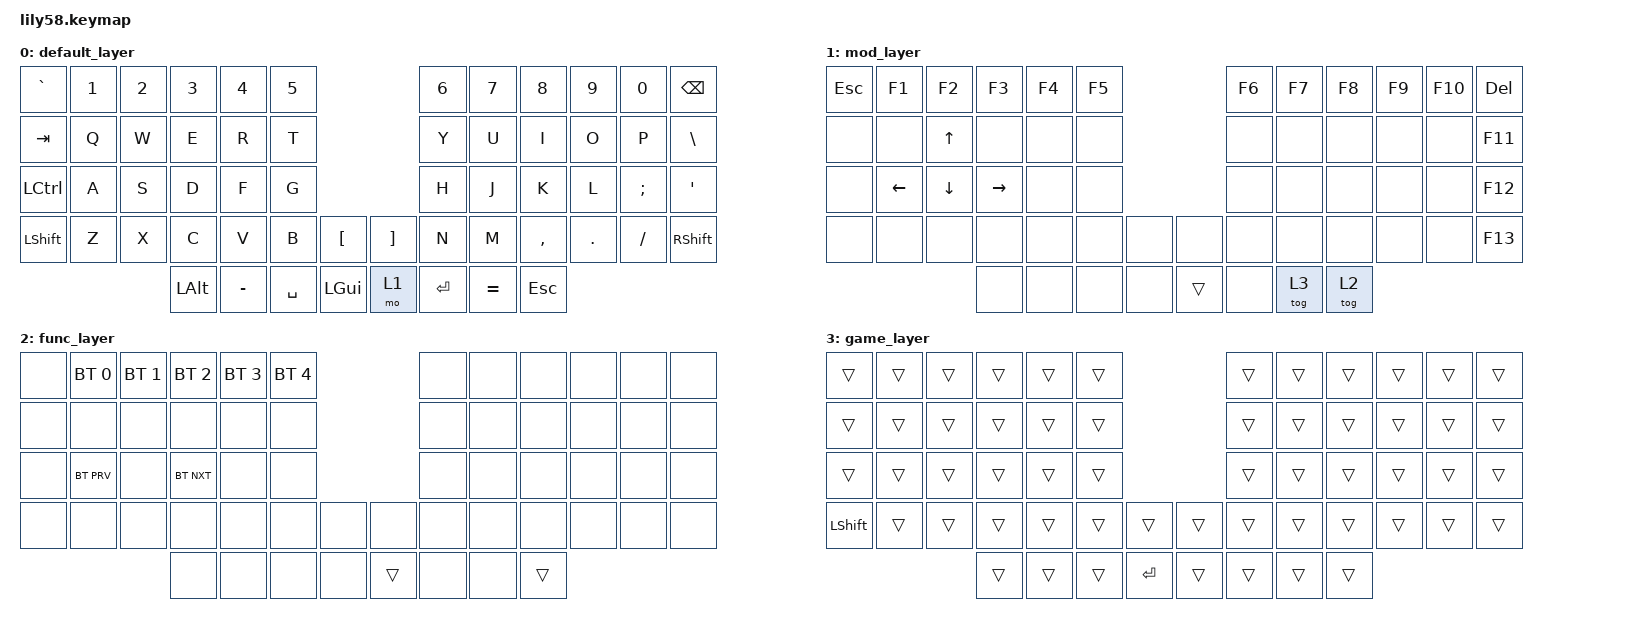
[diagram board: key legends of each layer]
#include <behaviors.dtsi>
#include <dt-bindings/zmk/keys.h>
#include <dt-bindings/zmk/bt.h>
#include <dt-bindings/zmk/outputs.h>

/ {
  keymap {
    compatible = "zmk,keymap";

    default_layer {
      bindings = <
        &kp GRAVE &kp N1 &kp N2 &kp N3   &kp N4    &kp N5                         &kp N6  &kp N7    &kp N8    &kp N9  &kp N0    &kp BACKSPACE
        &kp TAB   &kp Q  &kp W  &kp E    &kp R     &kp T                          &kp Y   &kp U     &kp I     &kp O   &kp P     &kp BACKSLASH
        &kp LCTRL &kp A  &kp S  &kp D    &kp F     &kp G                          &kp H   &kp J     &kp K     &kp L   &kp SEMI  &kp SINGLE_QUOTE
        &kp LSHFT &kp Z  &kp X  &kp C    &kp V     &kp B     &kp LBKT    &kp RBKT &kp N   &kp M     &kp COMMA &kp DOT &kp SLASH &kp RSHFT
                                &kp LALT &kp MINUS &kp SPACE &kp LGUI    &mo 1    &kp RET &kp EQUAL &kp ESC
			>;
    };

    mod_layer {
      bindings = <
        &kp ESC &kp F1   &kp F2   &kp F3    &kp F4   &kp F5                 &kp F6 &kp F7 &kp F8 &kp F9 &kp F10 &kp DELETE
        &none   &none    &kp UP   &none     &none    &none                  &none  &none  &none  &none  &none   &kp F11
        &none   &kp LEFT &kp DOWN &kp RIGHT &none    &none                  &none  &none  &none  &none  &none   &kp F12
        &none   &none    &none    &none     &none    &none  &none    &none  &none  &none  &none  &none  &none   &kp F13
                                  &none     &none    &none  &none    &trans &none  &tog 3 &tog 2
			>;
    };

    func_layer {
      bindings = <
        &none &bt BT_SEL 0 &bt BT_SEL 1 &bt BT_SEL 2 &bt BT_SEL 3 &bt BT_SEL 4                 &none &none &none &none &none &none
        &none &none        &none        &none        &none        &none                        &none &none &none &none &none &none
        &none &bt BT_PRV   &none        &bt BT_NXT   &none        &none                        &none &none &none &none &none &none
        &none &none        &none        &none        &none        &none        &none    &none  &none &none &none &none &none &none
                                        &none        &none        &none        &none    &trans &none &none &trans
			>;
    };

    game_layer {
      bindings = <
        &trans     &trans &trans &trans &trans &trans                &trans &trans &trans &trans &trans &trans
        &trans     &trans &trans &trans &trans &trans                &trans &trans &trans &trans &trans &trans
        &trans     &trans &trans &trans &trans &trans                &trans &trans &trans &trans &trans &trans
        &kp LSHIFT &trans &trans &trans &trans &trans &trans  &trans &trans &trans &trans &trans &trans &trans
                          &trans &trans &trans &kp RET        &trans &trans &trans &trans
      >;
    };
  };
};
